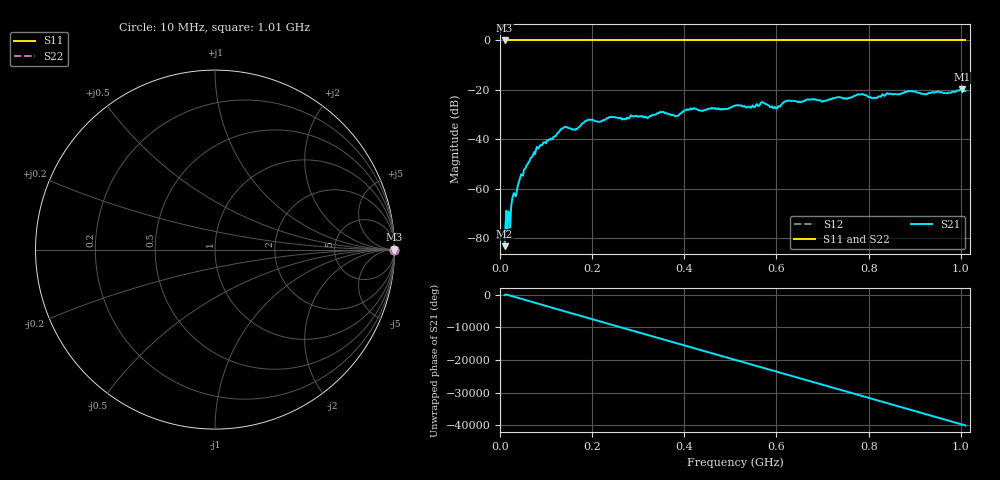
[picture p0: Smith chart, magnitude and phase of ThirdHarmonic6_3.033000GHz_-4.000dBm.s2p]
! 8/17/2025 8:45:37 AM
! C:\ANRITSUVNA\TEMP\TEMP.S2P
! CHANNEL.1
! TR.MEASUREMENT
! RAW.DATA
! RF.CORRECTION.OFF
! AVERAGING.OFF
! IF.BANDWIDTH: 5KHZ
! SWEEPTYPE:  FREQ.SWEEP(Linear)
! Reference Plane Port Info
! PORT:  PORT1  PORT2
! DISTANCE:  0  m  0  m
! TIME:  0  s  0  s
! PHASE.OFFSET:  0  deg.  0  deg.
! LOSS:  0  dB  0  dB
! REF.LOSS:  0  dB  0  dB
! REF.FREQ:  0  Hz  0  Hz
! Power Info
! POWER:  -20  dBm  -20  dBm
! EFF.POWER:  -20  dBm  -20  dBm
! SOURCE.ATTEN:  0  dB  0  dB
! TEST.ATTEN:  0  dB  0  dB
# GHZ S RI R 50.0
! FREQ.GHZ  S11RE  S11IM  S21RE  S21IM  S12RE  S12IM  S22RE  S22IM
!; PortSelection: Port_12
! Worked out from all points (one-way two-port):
!   501 points, 10 MHz to 1.01 GHz, reference 50 ohm
!   highest |S21| = -19.78 dB at 1.002 GHz (marker M1); lowest = -83.3 dB at 10 MHz (marker M2)
!   lowest |S11| = 0.0 dB at 10 MHz (marker M3)
!   |S11| at or under -10 dB: nowhere
!   |S22| runs from 0.0 to 0.0 dB; largest |S21 - S12| = 1.1
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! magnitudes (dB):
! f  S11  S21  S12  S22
! 10 MHz  0.0  -83.3  0.0  0.0
! 16 MHz  0.0  -77.3  0.0  0.0
! 20 MHz  0.0  -69.8  0.0  0.0
! 28 MHz  0.0  -63.0  0.0  0.0
! 44 MHz  0.0  -55.4  0.0  0.0
! 78 MHz  0.0  -44.4  0.0  0.0
! 136 MHz  0.0  -35.6  0.0  0.0
! 164 MHz  0.0  -35.9  0.0  0.0
! 178 MHz  0.0  -33.6  0.0  0.0
! 344 MHz  0.0  -29.5  0.0  0.0
! 384 MHz  0.0  -30.5  0.0  0.0
! 410 MHz  0.0  -28.2  0.0  0.0
! 510 MHz  0.0  -26.4  0.0  0.0
! 570 MHz  0.0  -25.0  0.0  0.0
! 598 MHz  0.0  -27.3  0.0  0.0
! 622 MHz  0.0  -24.4  0.0  0.0
! 678 MHz  0.0  -23.8  0.0  0.0
! 782 MHz  0.0  -21.9  0.0  0.0
! 814 MHz  0.0  -23.2  0.0  0.0
! 844 MHz  0.0  -21.7  0.0  0.0
! 1.002 GHz  0.0  -19.8  0.0  0.0
! 1.01 GHz  0.0  -20.4  0.0  0.0
